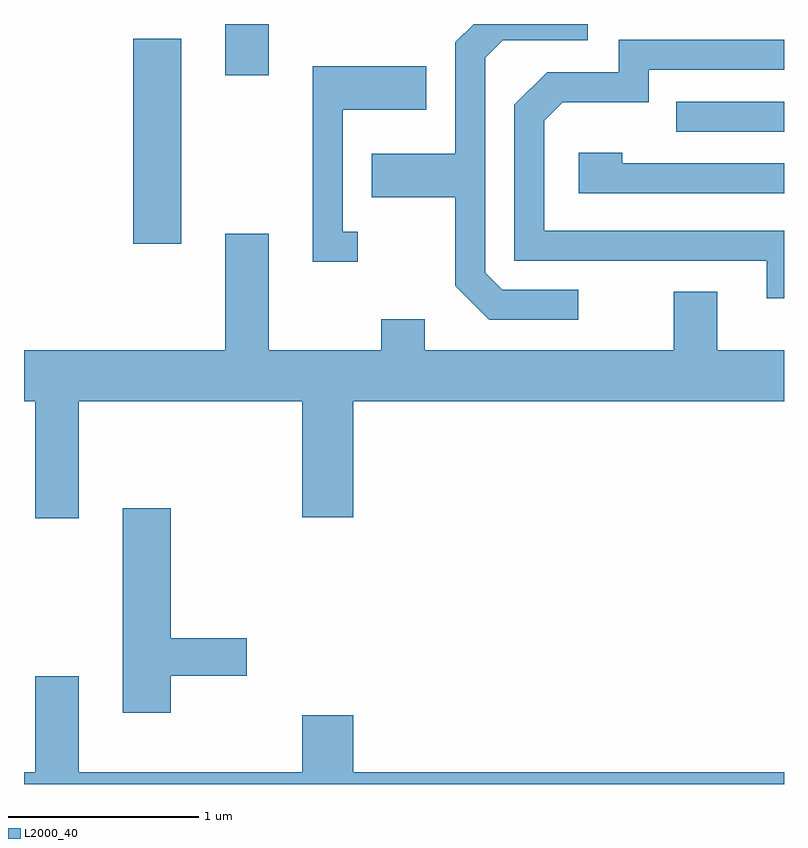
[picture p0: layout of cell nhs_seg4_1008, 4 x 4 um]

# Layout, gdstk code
import gdstk
lib = gdstk.Library(unit=1e-6, precision=1e-09)
def R(c, l, rs):  # rectangles x0, y0, x1, y1
    for r in rs: c.add(gdstk.rectangle(r[:2], r[2:], *l))
def P(c, l, *ps):  # polygons
    for p in ps: c.add(gdstk.Polygon(p, *l))
L2000_40 = (2000, 40)

nhs_seg4_1008 = lib.new_cell('nhs_seg4_1008')
R(nhs_seg4_1008, L2000_40, [(214.186,1368.826,214.439,1369.904), (217.043,1369.416,217.611,1369.574), (214.671,1369.711,214.899,1369.982)])
P(nhs_seg4_1008, L2000_40, [(216.528,1368.584),(216.127,1368.584),(216.039,1368.672),(216.039,1369.804),(216.132,1369.896),(216.578,1369.896),(216.578,1369.982),(215.977,1369.982),(215.881,1369.887),(215.881,1369.299),(215.441,1369.299),(215.441,1369.071),(215.881,1369.071),(215.881,1368.604),(216.059,1368.426),(216.528,1368.426)],
  [(217.611,1368.894),(216.349,1368.894),(216.349,1369.474),(216.447,1369.571),(216.899,1369.571),(216.899,1369.741),(217.611,1369.741),(217.611,1369.899),(216.741,1369.899),(216.741,1369.729),(216.364,1369.729),(216.191,1369.557),(216.191,1368.736),(217.521,1368.736),(217.521,1368.538),(217.611,1368.538)],
  [(215.368,1368.889),(215.289,1368.889),(215.289,1369.531),(215.729,1369.531),(215.729,1369.759),(215.131,1369.759),(215.131,1368.731),(215.368,1368.731)],
  [(217.611,1369.249),(216.759,1369.249),(216.759,1369.304),(216.531,1369.304),(216.531,1369.091),(217.611,1369.091)],
  [(213.899,1367.996),(215.076,1367.996),(215.076,1367.386),(215.344,1367.386),(215.344,1367.996),(217.611,1367.996),(217.611,1368.264),(217.259,1368.264),(217.259,1368.574),(217.031,1368.574),(217.031,1368.264),(215.719,1368.264),(215.719,1368.429),(215.491,1368.429),(215.491,1368.264),(214.899,1368.264),(214.899,1368.879),(214.671,1368.879),(214.671,1368.264),(213.611,1368.264),(213.611,1367.996),(213.671,1367.996),(213.671,1367.381),(213.899,1367.381)],
  [(214.384,1366.551),(214.784,1366.551),(214.784,1366.749),(214.384,1366.749),(214.384,1367.434),(214.131,1367.434),(214.131,1366.356),(214.384,1366.356)],
  [(217.611,1366.044),(215.344,1366.044),(215.344,1366.344),(215.076,1366.344),(215.076,1366.044),(213.899,1366.044),(213.899,1366.549),(213.671,1366.549),(213.671,1366.044),(213.611,1366.044),(213.611,1365.982),(217.611,1365.982)])

lib.write_gds('nhs_seg4_1008.gds')
